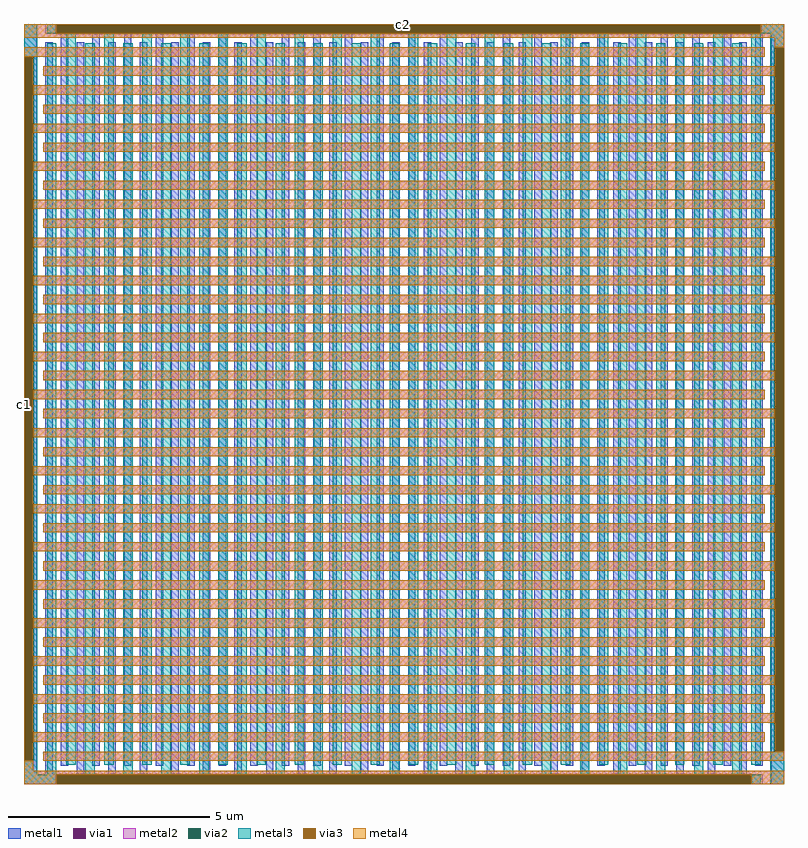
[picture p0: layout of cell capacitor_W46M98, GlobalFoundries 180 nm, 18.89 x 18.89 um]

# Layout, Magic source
magic
tech gf180mcuD
magscale 3 26
<< metal1 >>
rect 0 3134 55 3275
rect 91 3274 3275 3275
rect 91 3234 137 3274
rect 3177 3234 3275 3274
rect 91 3233 3275 3234
rect 0 100 1 3134
rect 41 100 55 3134
rect 0 42 55 100
rect 91 42 123 3197
rect 159 78 191 3233
rect 227 42 259 3197
rect 295 78 327 3233
rect 363 42 395 3197
rect 431 78 463 3233
rect 499 42 531 3197
rect 567 78 599 3233
rect 635 42 667 3197
rect 703 78 735 3233
rect 771 42 803 3197
rect 839 78 871 3233
rect 907 42 939 3197
rect 975 78 1007 3233
rect 1043 42 1075 3197
rect 1111 78 1143 3233
rect 1179 42 1211 3197
rect 1247 78 1279 3233
rect 1315 42 1347 3197
rect 1383 78 1415 3233
rect 1451 42 1483 3197
rect 1519 78 1551 3233
rect 1587 42 1619 3197
rect 1655 78 1687 3233
rect 1723 42 1755 3197
rect 1791 78 1823 3233
rect 1859 42 1891 3197
rect 1927 78 1959 3233
rect 1995 42 2027 3197
rect 2063 78 2095 3233
rect 2131 42 2163 3197
rect 2199 78 2231 3233
rect 2267 42 2299 3197
rect 2335 78 2367 3233
rect 2403 42 2435 3197
rect 2471 78 2503 3233
rect 2539 42 2571 3197
rect 2607 78 2639 3233
rect 2675 42 2707 3197
rect 2743 78 2775 3233
rect 2811 42 2843 3197
rect 2879 78 2911 3233
rect 2947 42 2979 3197
rect 3015 78 3047 3233
rect 3083 42 3115 3197
rect 3151 78 3183 3233
rect 3219 3174 3275 3233
rect 3219 140 3234 3174
rect 3274 140 3275 3174
rect 0 41 3183 42
rect 0 1 137 41
rect 3137 1 3183 41
rect 0 0 3183 1
rect 3219 0 3275 140
<< via1 >>
rect 137 3234 3177 3274
rect 1 100 41 3134
rect 3234 140 3274 3174
rect 137 1 3137 41
<< metal2 >>
rect 0 3274 140 3275
rect 3174 3274 3275 3275
rect 0 3234 137 3274
rect 3177 3234 3275 3274
rect 0 3216 3275 3234
rect 3234 3174 3275 3216
rect 0 3134 3191 3174
rect 84 3052 3234 3092
rect 41 2970 3191 3010
rect 84 2888 3234 2928
rect 41 2806 3191 2846
rect 84 2724 3234 2764
rect 41 2642 3191 2682
rect 84 2560 3234 2600
rect 41 2478 3191 2518
rect 84 2396 3234 2436
rect 41 2314 3191 2354
rect 84 2232 3234 2272
rect 41 2150 3191 2190
rect 84 2068 3234 2108
rect 41 1986 3191 2026
rect 84 1904 3234 1944
rect 41 1822 3191 1862
rect 84 1740 3234 1780
rect 41 1658 3191 1698
rect 84 1576 3234 1616
rect 41 1494 3191 1534
rect 84 1412 3234 1452
rect 41 1330 3191 1370
rect 84 1248 3234 1288
rect 41 1166 3191 1206
rect 84 1084 3234 1124
rect 41 1002 3191 1042
rect 84 920 3234 960
rect 41 838 3191 878
rect 84 756 3234 796
rect 41 674 3191 714
rect 84 592 3234 632
rect 41 510 3191 550
rect 84 428 3234 468
rect 41 346 3191 386
rect 84 264 3234 304
rect 41 182 3191 222
rect 84 100 3275 140
rect 0 58 41 100
rect 0 41 3275 58
rect 0 1 137 41
rect 3137 1 3275 41
rect 0 0 140 1
rect 3134 0 3275 1
<< via2 >>
rect 140 3274 3174 3275
rect 140 3235 3174 3274
rect 0 100 1 3134
rect 1 100 40 3134
rect 3235 140 3274 3174
rect 3274 140 3275 3174
rect 140 1 3134 40
rect 140 0 3134 1
<< metal3 >>
rect 0 3134 58 3275
rect 100 3235 140 3275
rect 3174 3235 3275 3275
rect 40 100 58 3134
rect 0 40 58 100
rect 100 40 140 3193
rect 182 82 222 3235
rect 264 40 304 3193
rect 346 82 386 3235
rect 428 40 468 3193
rect 510 82 550 3235
rect 592 40 632 3193
rect 674 82 714 3235
rect 756 40 796 3193
rect 838 82 878 3235
rect 920 40 960 3193
rect 1002 82 1042 3235
rect 1084 40 1124 3193
rect 1166 82 1206 3235
rect 1248 40 1288 3193
rect 1330 82 1370 3235
rect 1412 40 1452 3193
rect 1494 82 1534 3235
rect 1576 40 1616 3193
rect 1658 82 1698 3235
rect 1740 40 1780 3193
rect 1822 82 1862 3235
rect 1904 40 1944 3193
rect 1986 82 2026 3235
rect 2068 40 2108 3193
rect 2150 82 2190 3235
rect 2232 40 2272 3193
rect 2314 82 2354 3235
rect 2396 40 2436 3193
rect 2478 82 2518 3235
rect 2560 40 2600 3193
rect 2642 82 2682 3235
rect 2724 40 2764 3193
rect 2806 82 2846 3235
rect 2888 40 2928 3193
rect 2970 82 3010 3235
rect 3052 40 3092 3193
rect 3134 82 3174 3235
rect 3216 3174 3275 3235
rect 3216 140 3235 3174
rect 0 0 140 40
rect 3134 0 3174 40
rect 3216 0 3275 140
<< via3 >>
rect 140 3235 3174 3275
rect 0 100 40 3134
rect 3235 140 3275 3174
rect 140 0 3134 40
<< metal4 >>
rect 0 3235 140 3275
rect 3174 3235 3275 3275
rect 0 3216 3275 3235
rect 3235 3174 3275 3216
rect 0 3134 3193 3174
rect 82 3052 3235 3092
rect 40 2970 3193 3010
rect 82 2888 3235 2928
rect 40 2806 3193 2846
rect 82 2724 3235 2764
rect 40 2642 3193 2682
rect 82 2560 3235 2600
rect 40 2478 3193 2518
rect 82 2396 3235 2436
rect 40 2314 3193 2354
rect 82 2232 3235 2272
rect 40 2150 3193 2190
rect 82 2068 3235 2108
rect 40 1986 3193 2026
rect 82 1904 3235 1944
rect 40 1822 3193 1862
rect 82 1740 3235 1780
rect 40 1658 3193 1698
rect 82 1576 3235 1616
rect 40 1494 3193 1534
rect 82 1412 3235 1452
rect 40 1330 3193 1370
rect 82 1248 3235 1288
rect 40 1166 3193 1206
rect 82 1084 3235 1124
rect 40 1002 3193 1042
rect 82 920 3235 960
rect 40 838 3193 878
rect 82 756 3235 796
rect 40 674 3193 714
rect 82 592 3235 632
rect 40 510 3193 550
rect 82 428 3235 468
rect 40 346 3193 386
rect 82 264 3235 304
rect 40 182 3193 222
rect 82 100 3275 140
rect 0 58 40 100
rect 0 40 3275 58
rect 0 0 140 40
rect 3134 0 3275 40
<< labels >>
rlabel via3 2 1637 2 1637 0 c1
port 1 nsew
rlabel via3 1637 3273 1637 3273 0 c2
port 2 nsew
<< properties >>
string device csubckt cap_cmomf 0 0 1 1 w=16.374u l=16.374u mmin=1 mmax=4 subblock=0 mm_ok=1 c1 0 0 c2 0 0
string FIXED_BBOX 0 0 3275 3275
string gencell cap_cmomf
string library gf180mcu
string parameters w 16.374 l 16.374 value 622.0000000000001 class capacitor mmin 1 mmax 4 square 1 subblock 0 lmin 2.00 wmin 2.00 lmax 100.0 wmax 100.0 m 1
<< end >>
